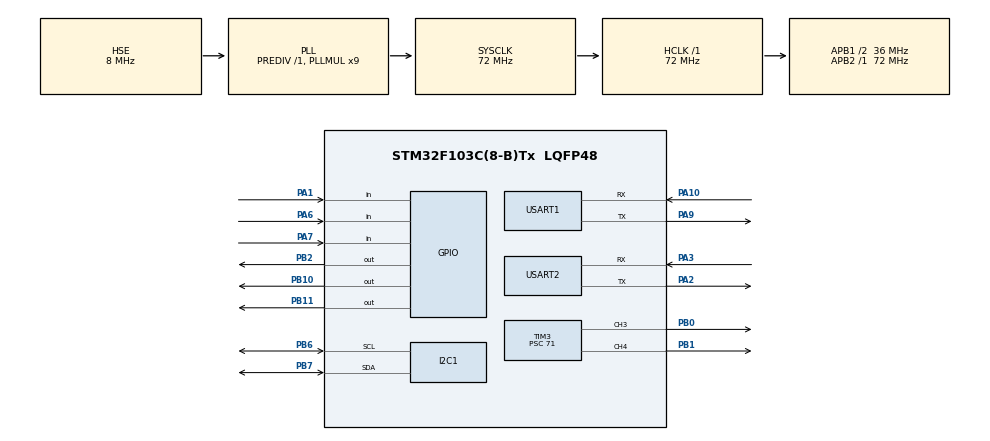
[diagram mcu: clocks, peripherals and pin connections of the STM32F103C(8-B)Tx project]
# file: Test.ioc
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Dma.Request0=USART2_RX
Dma.Request1=USART2_TX
Dma.Request2=USART1_RX
Dma.Request3=USART1_TX
Dma.USART1_RX.2.Direction=DMA_PERIPH_TO_MEMORY
Dma.USART1_RX.2.Instance=DMA1_Channel5
Dma.USART1_RX.2.MemDataAlignment=DMA_MDATAALIGN_BYTE
Dma.USART1_RX.2.MemInc=DMA_MINC_ENABLE
Dma.USART1_RX.2.Mode=DMA_NORMAL
Dma.USART1_RX.2.PeriphDataAlignment=DMA_PDATAALIGN_BYTE
Dma.USART1_RX.2.PeriphInc=DMA_PINC_DISABLE
Dma.USART1_RX.2.Priority=DMA_PRIORITY_LOW
Dma.USART1_TX.3.Direction=DMA_MEMORY_TO_PERIPH
Dma.USART1_TX.3.Instance=DMA1_Channel4
Dma.USART1_TX.3.MemDataAlignment=DMA_MDATAALIGN_BYTE
Dma.USART1_TX.3.MemInc=DMA_MINC_ENABLE
Dma.USART1_TX.3.Mode=DMA_NORMAL
Dma.USART1_TX.3.PeriphDataAlignment=DMA_PDATAALIGN_BYTE
Dma.USART1_TX.3.PeriphInc=DMA_PINC_DISABLE
Dma.USART1_TX.3.Priority=DMA_PRIORITY_LOW
Dma.USART2_RX.0.Direction=DMA_PERIPH_TO_MEMORY
Dma.USART2_RX.0.Instance=DMA1_Channel6
Dma.USART2_RX.0.MemDataAlignment=DMA_MDATAALIGN_BYTE
Dma.USART2_RX.0.MemInc=DMA_MINC_ENABLE
Dma.USART2_RX.0.Mode=DMA_NORMAL
Dma.USART2_RX.0.PeriphDataAlignment=DMA_PDATAALIGN_BYTE
Dma.USART2_RX.0.PeriphInc=DMA_PINC_DISABLE
Dma.USART2_RX.0.Priority=DMA_PRIORITY_LOW
Dma.USART2_TX.1.Direction=DMA_MEMORY_TO_PERIPH
Dma.USART2_TX.1.Instance=DMA1_Channel7
Dma.USART2_TX.1.MemDataAlignment=DMA_MDATAALIGN_BYTE
Dma.USART2_TX.1.MemInc=DMA_MINC_ENABLE
Dma.USART2_TX.1.Mode=DMA_NORMAL
Dma.USART2_TX.1.PeriphDataAlignment=DMA_PDATAALIGN_BYTE
Dma.USART2_TX.1.PeriphInc=DMA_PINC_DISABLE
Dma.USART2_TX.1.Priority=DMA_PRIORITY_LOW
Mcu.Family=STM32F1
Mcu.Name=STM32F103C(8-B)Tx
Mcu.Package=LQFP48
NVIC.DMA1_Channel4_IRQn=true\:0\:0\:false\:false\:true\:false\:true\:true
NVIC.DMA1_Channel5_IRQn=true\:0\:0\:false\:false\:true\:false\:true\:true
NVIC.DMA1_Channel6_IRQn=true\:0\:0\:false\:false\:true\:false\:true\:true
NVIC.DMA1_Channel7_IRQn=true\:0\:0\:false\:false\:true\:false\:true\:true
NVIC.I2C1_ER_IRQn=true\:0\:0\:false\:false\:true\:true\:true\:true
NVIC.I2C1_EV_IRQn=true\:0\:0\:false\:false\:true\:true\:true\:true
NVIC.PriorityGroup=NVIC_PRIORITYGROUP_4
NVIC.TIM3_IRQn=true\:0\:0\:false\:false\:true\:true\:true\:true
NVIC.USART1_IRQn=true\:0\:0\:false\:false\:true\:true\:true\:true
NVIC.USART2_IRQn=true\:0\:0\:false\:false\:true\:true\:true\:true
PA1.Signal=GPIO_Input
PA10.Mode=Asynchronous
PA10.Signal=USART1_RX
PA2.Mode=Asynchronous
PA2.Signal=USART2_TX
PA3.Mode=Asynchronous
PA3.Signal=USART2_RX
PA6.Signal=GPIO_Input
PA7.Signal=GPIO_Input
PA9.Mode=Asynchronous
PA9.Signal=USART1_TX
PB0.Signal=S_TIM3_CH3
PB1.Signal=S_TIM3_CH4
PB10.Signal=GPIO_Output
PB11.Signal=GPIO_Output
PB2.Signal=GPIO_Output
PB6.Mode=I2C
PB6.Signal=I2C1_SCL
PB7.Mode=I2C
PB7.Signal=I2C1_SDA
PC14-OSC32_IN.Mode=LSE-External-Oscillator
PC14-OSC32_IN.Signal=RCC_OSC32_IN
PC15-OSC32_OUT.Mode=LSE-External-Oscillator
PC15-OSC32_OUT.Signal=RCC_OSC32_OUT
PD0-OSC_IN.Mode=HSE-External-Oscillator
PD0-OSC_IN.Signal=RCC_OSC_IN
PD1-OSC_OUT.Mode=HSE-External-Oscillator
PD1-OSC_OUT.Signal=RCC_OSC_OUT
ProjectManager.HeapSize=0x200
ProjectManager.StackSize=0x400
ProjectManager.TargetToolchain=MDK-ARM V5.32
RCC.AHBFreq_Value=72000000
RCC.APB1CLKDivider=RCC_HCLK_DIV2
RCC.APB1Freq_Value=36000000
RCC.APB1TimFreq_Value=72000000
RCC.APB2Freq_Value=72000000
RCC.APB2TimFreq_Value=72000000
RCC.HCLKFreq_Value=72000000
RCC.PLLMUL=RCC_PLL_MUL9
RCC.PLLSourceVirtual=RCC_PLLSOURCE_HSE
RCC.SYSCLKFreq_VALUE=72000000
RCC.SYSCLKSource=RCC_SYSCLKSOURCE_PLLCLK
RCC.USBFreq_Value=72000000
SH.S_TIM3_CH3.0=TIM3_CH3,PWM Generation3 CH3
SH.S_TIM3_CH4.0=TIM3_CH4,PWM Generation4 CH4
TIM1.Prescaler=71
TIM3.AutoReloadPreload=TIM_AUTORELOAD_PRELOAD_ENABLE
TIM3.Channel-PWM\ Generation3\ CH3=TIM_CHANNEL_3
TIM3.Channel-PWM\ Generation4\ CH4=TIM_CHANNEL_4
TIM3.Period=999
TIM3.Prescaler=71
USART1.VirtualMode=VM_ASYNC
USART2.VirtualMode=VM_ASYNC
VP_SYS_VS_ND.Mode=No_Debug
VP_TIM1_VS_ClockSourceINT.Mode=Internal
board=custom

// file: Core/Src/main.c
/* USER CODE BEGIN Header */
/**
  ******************************************************************************
  * @file           : main.c
  * @brief          : STM32 HTS221 I2C + RGB(PA1) + Motor PWM & Speed(PA7) + BC28(USART1)
  ******************************************************************************
  */
/* USER CODE END Header */
#include "main.h"
#include "dma.h"
#include "tim.h"
#include "usart.h"
#include "gpio.h"

/* USER CODE BEGIN Includes */
#include <string.h>
#include <stdio.h>
/* USER CODE END Includes */

#define RX_BUF_SIZE 128
#define PARSE_BUF_SIZE 256
#define HTS221_ADDR 0xBE // 8-bit I2C address (0x5F << 1)

extern I2C_HandleTypeDef hi2c1;
extern TIM_HandleTypeDef htim3;
extern UART_HandleTypeDef huart1; /* 引入 CubeMX 生成的 USART1 句柄，用于连接 BC28 */

/* 串口2 (连接上位机) 接收缓存 */
uint8_t rx_buf[RX_BUF_SIZE];
volatile uint16_t rx_len = 0;
volatile uint8_t rx_done = 0;
uint8_t parse_buf[PARSE_BUF_SIZE];
uint16_t parse_len = 0;

/* 串口1 (连接BC28) 接收缓存 */
uint8_t bc28_rx_buf[256];
volatile uint16_t bc28_rx_len = 0;
volatile uint8_t bc28_rx_done = 0;

typedef enum { MOTOR_STOP = 0, MOTOR_FORWARD, MOTOR_REVERSE } MotorState_t;
MotorState_t motor_state = MOTOR_STOP;

uint8_t motor_speed = 50;
volatile uint8_t rgb_color_idx = 0;
uint32_t last_upload_time = 0;

volatile uint32_t pa1_exti_time = 0;
volatile uint32_t key2_exti_time = 0;

uint8_t key1_last = 1;
uint32_t key1_time = 0;

int16_t T0_out, T1_out, T0_degC, T1_degC;
int16_t H0_out, H1_out, H0_rh, H1_rh;

void SystemClock_Config(void);
void Motor_Set(MotorState_t state);
void RGB_SetColor(uint8_t idx);
void Send_DeviceState(void);
extern void MX_I2C1_Init(void);

/* ==================== HTS221 传感器驱动 ==================== */
void HTS221_Init(void)
{
    uint8_t who_am_i = 0;
    if (HAL_I2C_Mem_Read(&hi2c1, HTS221_ADDR, 0x0F, 1, &who_am_i, 1, 500) != HAL_OK || who_am_i != 0xBC)
    {
        T0_out = 0; T1_out = 0;
        return;
    }

    uint8_t ctrl1 = 0x85;
    HAL_I2C_Mem_Write(&hi2c1, HTS221_ADDR, 0x20, 1, &ctrl1, 1, 500);
    HAL_Delay(50);

    uint8_t buf[16] = {0};
    if(HAL_I2C_Mem_Read(&hi2c1, HTS221_ADDR, 0x30 | 0x80, 1, buf, 16, 500) == HAL_OK)
    {
        H0_rh = buf[0] >> 1;
        H1_rh = buf[1] >> 1;
        T0_degC = ((buf[5] & 0x03) << 8 | buf[2]) >> 3;
        T1_degC = ((buf[5] & 0x0C) << 6 | buf[3]) >> 3;
        H0_out = (int16_t)(buf[7] << 8 | buf[6]);
        H1_out = (int16_t)(buf[11] << 8 | buf[10]);
        T0_out = (int16_t)(buf[13] << 8 | buf[12]);
        T1_out = (int16_t)(buf[15] << 8 | buf[14]);
    }
}

void HTS221_Read(float *temp, float *hum)
{
    if (T1_out == T0_out || H1_out == H0_out)
    {
        *temp = -99.9f;
        *hum = -99.9f;
        return;
    }

    uint8_t buf[4] = {0};
    if(HAL_I2C_Mem_Read(&hi2c1, HTS221_ADDR, 0x28 | 0x80, 1, buf, 4, 100) != HAL_OK)
    {
        *temp = -99.9f;
        *hum = -99.9f;
        return;
    }

    int16_t h_out = (int16_t)(buf[1] << 8 | buf[0]);
    int16_t t_out = (int16_t)(buf[3] << 8 | buf[2]);

    *temp = T0_degC + ((float)(t_out - T0_out) / (T1_out - T0_out)) * (T1_degC - T0_degC);
    *hum = H0_rh + ((float)(h_out - H0_out) / (H1_out - H0_out)) * (H1_rh - H0_rh);
}

/* ==================== 协议发送与解析 ==================== */
void Send_SensorData(float temp, float hum)
{
    int16_t t = (int16_t)(temp * 10);
    int16_t h = (int16_t)(hum * 10);
    uint8_t buf[9] = {0x5A, 0xA5, 0x05, 0x01, (t >> 8), (t & 0xFF), (h >> 8), (h & 0xFF), 0};
    buf[8] = buf[2] ^ buf[3] ^ buf[4] ^ buf[5] ^ buf[6] ^ buf[7];
    HAL_UART_Transmit(&huart2, buf, 9, 100);
}

void Send_DeviceState(void)
{
    uint8_t buf[8] = {0x5A, 0xA5, 0x04, 0x02, (uint8_t)motor_state, rgb_color_idx, motor_speed, 0};
    buf[7] = buf[2] ^ buf[3] ^ buf[4] ^ buf[5] ^ buf[6];
    HAL_UART_Transmit(&huart2, buf, 8, 100);
}

/* 统一管理 USART1 和 USART2 的 DMA 接收空闲中断 */
void HAL_UARTEx_RxEventCallback(UART_HandleTypeDef *huart, uint16_t Size)
{
    if(huart->Instance == USART2) {
        rx_len = Size;
        rx_done = 1;
    }
    else if(huart->Instance == USART1) {
        bc28_rx_len = Size;
        bc28_rx_done = 1;
    }
}

void UART2_RxStart(void)
{
    HAL_UARTEx_ReceiveToIdle_DMA(&huart2, rx_buf, RX_BUF_SIZE);
}

void UART2_ProcessProtocol(void)
{
    if(rx_done)
    {
        HAL_UART_DMAStop(&huart2);
        for(uint16_t k = 0; k < rx_len; k++) {
            if(parse_len < PARSE_BUF_SIZE) parse_buf[parse_len++] = rx_buf[k];
        }
        rx_done = 0; rx_len = 0;
        UART2_RxStart();

        uint16_t i = 0;
        while(i + 3 < parse_len)
        {
            if(parse_buf[i] == 0x5A && parse_buf[i+1] == 0xA5)
            {
                uint8_t data_len = parse_buf[i+2];
                if(i + 3 + data_len >= PARSE_BUF_SIZE) { i++; continue; }

                if(i + 3 + data_len < parse_len)
                {
                    uint8_t calc_checksum = data_len;
                    for(uint8_t j = 0; j < data_len; j++) calc_checksum ^= parse_buf[i + 3 + j];

                    if(calc_checksum == parse_buf[i + 3 + data_len])
                    {
                        uint8_t cmd = parse_buf[i+3];
                        uint8_t *data = &parse_buf[i+4];

                        if (cmd == 0x0A && data_len == 2) {
                            Motor_Set((MotorState_t)data[0]);
                            Send_DeviceState();
                        } else if (cmd == 0x0B && data_len == 2) {
                            RGB_SetColor(data[0]);
                            Send_DeviceState();
                        } else if (cmd == 0x0C && data_len == 2) {
                            motor_speed = data[0];
                            if(motor_speed > 100) motor_speed = 100;
                            Motor_Set(motor_state);
                            Send_DeviceState();
                        } else if (cmd == 0x0D) {
                            /* 新增: 0x0D 拦截上位机的 AT 命令并透传给 USART1 (BC28) */
                            /* data_len 包含了 cmd 的1个字节，所以实际载荷长度是 data_len - 1 */
                            HAL_UART_Transmit(&huart1, data, data_len - 1, 500);
                        }

                        i += (4 + data_len);
                        continue;
                    }
                } else break;
            }
            i++;
        }

        if(i > 0) {
            parse_len -= i;
            memmove(parse_buf, &parse_buf[i], parse_len);
        }
        if(parse_len == PARSE_BUF_SIZE) parse_len = 0;
    }
}

/* ==================== 外设控制与中断 ==================== */
void Motor_Set(MotorState_t state)
{
    motor_state = state;
    uint32_t pulse = (uint32_t)motor_speed * 10;

    switch(state) {
        case MOTOR_STOP:
            __HAL_TIM_SET_COMPARE(&htim3, TIM_CHANNEL_3, 0);
            __HAL_TIM_SET_COMPARE(&htim3, TIM_CHANNEL_4, 0);
            break;
        case MOTOR_FORWARD:
            __HAL_TIM_SET_COMPARE(&htim3, TIM_CHANNEL_3, pulse);
            __HAL_TIM_SET_COMPARE(&htim3, TIM_CHANNEL_4, 0);
            break;
        case MOTOR_REVERSE:
            __HAL_TIM_SET_COMPARE(&htim3, TIM_CHANNEL_3, 0);
            __HAL_TIM_SET_COMPARE(&htim3, TIM_CHANNEL_4, pulse);
            break;
    }
}

void RGB_SetColor(uint8_t idx)
{
    rgb_color_idx = idx % 8;
    GPIO_PinState r = (rgb_color_idx & 0x01) ? GPIO_PIN_RESET : GPIO_PIN_SET;
    GPIO_PinState g = (rgb_color_idx & 0x02) ? GPIO_PIN_RESET : GPIO_PIN_SET;
    GPIO_PinState b = (rgb_color_idx & 0x04) ? GPIO_PIN_RESET : GPIO_PIN_SET;

    HAL_GPIO_WritePin(GPIOB, GPIO_PIN_2, r);
    HAL_GPIO_WritePin(GPIOB, GPIO_PIN_10, g);
    HAL_GPIO_WritePin(GPIOB, GPIO_PIN_11, b);
}

void HAL_GPIO_EXTI_Callback(uint16_t GPIO_Pin)
{
    uint32_t cur = HAL_GetTick();

    if(GPIO_Pin == GPIO_PIN_1)
    {
        if(cur - pa1_exti_time > 200) {
            pa1_exti_time = cur;
            RGB_SetColor(rgb_color_idx + 1);
            Send_DeviceState();
        }
    }
    else if(GPIO_Pin == GPIO_PIN_7)
    {
        if(cur - key2_exti_time > 200) {
            key2_exti_time = cur;
            if(motor_state != MOTOR_STOP)
            {
                motor_speed += 10;
                if(motor_speed > 100) motor_speed = 0;
                Motor_Set(motor_state);
                Send_DeviceState();
            }
        }
    }
}

void EXTI1_IRQHandler(void) { HAL_GPIO_EXTI_IRQHandler(GPIO_PIN_1); }
void EXTI9_5_IRQHandler(void) { HAL_GPIO_EXTI_IRQHandler(GPIO_PIN_7); }

uint8_t Key1_Pressed(void)
{
    uint8_t key = HAL_GPIO_ReadPin(GPIOA, GPIO_PIN_6);
    if(key == 0 && key1_last == 1) {
        if(HAL_GetTick() - key1_time > 200) {
            key1_time = HAL_GetTick();
            key1_last = key;
            return 1;
        }
    }
    key1_last = key;
    return 0;
}
/* USER CODE END 0 */

int main(void)
{
  HAL_Init();
  SystemClock_Config();

  MX_GPIO_Init();
  MX_DMA_Init();
  MX_USART1_UART_Init();
  MX_USART2_UART_Init();
  MX_TIM1_Init();
  MX_TIM3_Init();
  MX_I2C1_Init();

  /* USER CODE BEGIN 2 */
  GPIO_InitTypeDef GPIO_InitStruct = {0};
  __HAL_RCC_GPIOA_CLK_ENABLE();
  __HAL_RCC_GPIOB_CLK_ENABLE();

  GPIO_InitStruct.Pin = GPIO_PIN_2 | GPIO_PIN_10 | GPIO_PIN_11;
  GPIO_InitStruct.Mode = GPIO_MODE_OUTPUT_PP;
  GPIO_InitStruct.Pull = GPIO_NOPULL;
  GPIO_InitStruct.Speed = GPIO_SPEED_FREQ_LOW;
  HAL_GPIO_Init(GPIOB, &GPIO_InitStruct);

  GPIO_InitStruct.Pin = GPIO_PIN_1 | GPIO_PIN_7;
  GPIO_InitStruct.Mode = GPIO_MODE_IT_FALLING;
  GPIO_InitStruct.Pull = GPIO_PULLUP;
  HAL_GPIO_Init(GPIOA, &GPIO_InitStruct);

  HAL_NVIC_SetPriority(EXTI1_IRQn, 2, 0);
  HAL_NVIC_EnableIRQ(EXTI1_IRQn);

  HAL_NVIC_SetPriority(EXTI9_5_IRQn, 2, 0);
  HAL_NVIC_EnableIRQ(EXTI9_5_IRQn);

  HAL_TIM_PWM_Start(&htim3, TIM_CHANNEL_3);
  HAL_TIM_PWM_Start(&htim3, TIM_CHANNEL_4);

  HTS221_Init();
  Motor_Set(MOTOR_STOP);
  RGB_SetColor(0);

  /* 开启 UART2(上位机) 和 UART1(BC28) 的 DMA 接收 */
  UART2_RxStart();
  HAL_UARTEx_ReceiveToIdle_DMA(&huart1, bc28_rx_buf, sizeof(bc28_rx_buf));

  /* USER CODE END 2 */

  while (1)
  {
    UART2_ProcessProtocol();

    /* 当收到 BC28 模块的数据时，将其打包转发给 PC 上位机 */
    if (bc28_rx_done)
    {
        HAL_UART_DMAStop(&huart1);

        uint16_t len_to_send = bc28_rx_len;
        if(len_to_send > 240) len_to_send = 240; // 防越界

        uint8_t tx_buf[256];
        uint8_t data_len = len_to_send + 1; // 1 byte for cmd 0x0E
        tx_buf[0] = 0x5A;
        tx_buf[1] = 0xA5;
        tx_buf[2] = data_len;
        tx_buf[3] = 0x0E;
        memcpy(&tx_buf[4], (uint8_t*)bc28_rx_buf, len_to_send);

        uint8_t xor_cal = data_len ^ 0x0E;
        for(uint16_t j = 0; j < len_to_send; j++) {
            xor_cal ^= bc28_rx_buf[j];
        }
        tx_buf[4 + len_to_send] = xor_cal;

        HAL_UART_Transmit(&huart2, tx_buf, 5 + len_to_send, 1000);

        bc28_rx_done = 0;
        bc28_rx_len = 0;
        HAL_UARTEx_ReceiveToIdle_DMA(&huart1, bc28_rx_buf, sizeof(bc28_rx_buf));
    }

    if(Key1_Pressed())
    {
        switch(motor_state) {
            case MOTOR_STOP:    Motor_Set(MOTOR_FORWARD); break;
            case MOTOR_FORWARD: Motor_Set(MOTOR_REVERSE); break;
            case MOTOR_REVERSE: Motor_Set(MOTOR_STOP); break;
            default:            Motor_Set(MOTOR_STOP); break;
        }
        Send_DeviceState();
    }

    if (HAL_GetTick() - last_upload_time > 1000)
    {
        last_upload_time = HAL_GetTick();
        float temp, hum;
        HTS221_Read(&temp, &hum);
        Send_SensorData(temp, hum);
    }
  }
}

void SystemClock_Config(void)
{
  RCC_OscInitTypeDef RCC_OscInitStruct = {0};
  RCC_ClkInitTypeDef RCC_ClkInitStruct = {0};

  RCC_OscInitStruct.OscillatorType = RCC_OSCILLATORTYPE_HSE;
  RCC_OscInitStruct.HSEState = RCC_HSE_ON;
  RCC_OscInitStruct.HSEPredivValue = RCC_HSE_PREDIV_DIV1;
  RCC_OscInitStruct.HSIState = RCC_HSI_ON;
  RCC_OscInitStruct.PLL.PLLState = RCC_PLL_ON;
  RCC_OscInitStruct.PLL.PLLSource = RCC_PLLSOURCE_HSE;
  RCC_OscInitStruct.PLL.PLLMUL = RCC_PLL_MUL9;
  if (HAL_RCC_OscConfig(&RCC_OscInitStruct) != HAL_OK) { Error_Handler(); }

  RCC_ClkInitStruct.ClockType = RCC_CLOCKTYPE_HCLK|RCC_CLOCKTYPE_SYSCLK|RCC_CLOCKTYPE_PCLK1|RCC_CLOCKTYPE_PCLK2;
  RCC_ClkInitStruct.SYSCLKSource = RCC_SYSCLKSOURCE_PLLCLK;
  RCC_ClkInitStruct.AHBCLKDivider = RCC_SYSCLK_DIV1;
  RCC_ClkInitStruct.APB1CLKDivider = RCC_HCLK_DIV2;
  RCC_ClkInitStruct.APB2CLKDivider = RCC_HCLK_DIV1;
  if (HAL_RCC_ClockConfig(&RCC_ClkInitStruct, FLASH_LATENCY_2) != HAL_OK) { Error_Handler(); }
}

void Error_Handler(void) { __disable_irq(); while (1) {} }
